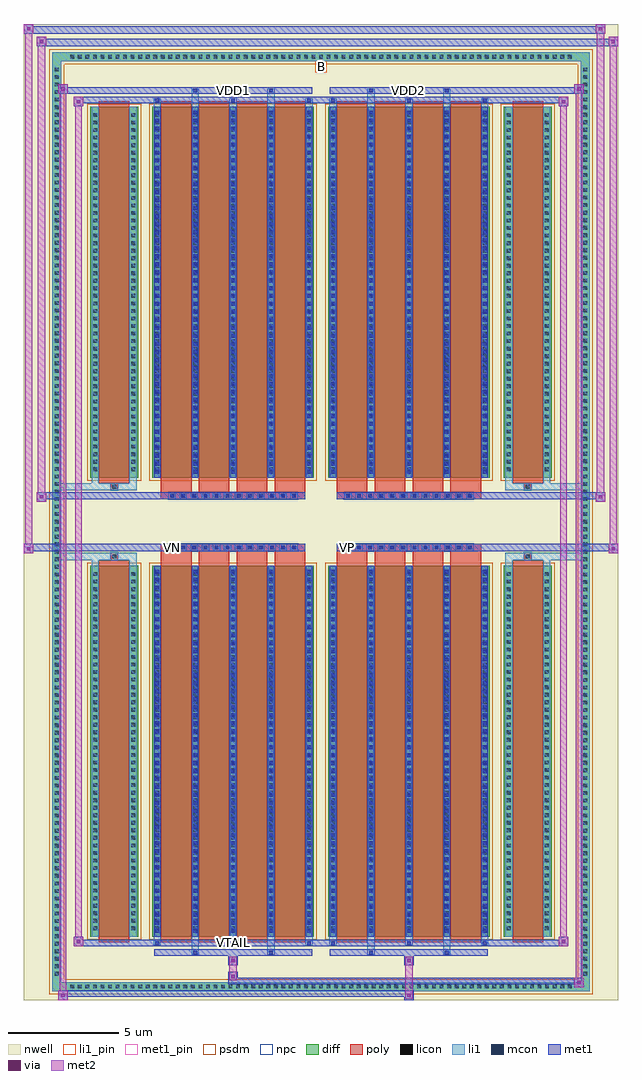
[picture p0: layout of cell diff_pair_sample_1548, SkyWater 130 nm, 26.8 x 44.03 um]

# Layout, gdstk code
import gdstk
lib = gdstk.Library(unit=1e-6, precision=5e-09)
def R(c, l, rs):  # rectangles x0, y0, x1, y1
    for r in rs: c.add(gdstk.rectangle(r[:2], r[2:], *l))
def A(c, l, x, y, w, h, nx, ny, dx, dy):  # array of equal rectangles
    R(c, l, [(x+i*dx, y+j*dy, x+i*dx+w, y+j*dy+h) for i in range(nx) for j in range(ny)])
def P(c, l, *ps):  # polygons
    for p in ps: c.add(gdstk.Polygon(p, *l))
nwell = (64, 20)
diff = (65, 20)
poly = (66, 20)
licon = (66, 44)
li1_pin = (67, 16)
li1 = (67, 20)
mcon = (67, 44)
met1_pin = (68, 16)
met1 = (68, 20)
via = (68, 44)
met2 = (69, 20)
psdm = (94, 20)
npc = (95, 20)

diff_pair_sample_1548 = lib.new_cell('diff_pair_sample_1548')
R(diff_pair_sample_1548, nwell, [(-13.4,-21.58,13.4,22.45), (-10.72,-19.77,-0.01,-0.805), (0.01,-19.77,10.72,-0.805), (-10.72,0.805,-0.01,19.77), (0.01,0.805,10.72,19.77)])
A(diff_pair_sample_1548, diff, -11.425, -21.18, 0.41, 0.41, 67, 2, 0.34, 41.95)
A(diff_pair_sample_1548, diff, -12.13, -20.605, 0.41, 0.41, 1, 121, 0, 0.34)
A(diff_pair_sample_1548, diff, 11.72, -20.605, 0.41, 0.41, 1, 121, 0, 0.34)
R(diff_pair_sample_1548, diff, [(-11.425,-21.18,11.425,-20.77), (-12.13,-20.605,-11.72,20.605), (11.72,-20.605,12.13,20.605), (-10.41,-18.725,-8.25,-1.985), (-7.61,-18.725,-0.32,-1.985), (0.32,-18.725,7.61,-1.985), (8.25,-18.725,10.41,-1.985), (-10.41,1.985,-8.25,18.725), (-7.61,1.985,-0.32,18.725), (0.32,1.985,7.61,18.725), (8.25,1.985,10.41,18.725), (-11.425,20.77,11.425,21.18)])
P(diff_pair_sample_1548, diff, [(12.13,21.18),(-12.13,21.18),(-12.13,-20.77),(-11.72,-20.77),(-11.72,20.77),(11.72,20.77),(11.72,-20.77),(-11.72,-20.77),(-12.13,-20.77),(-12.13,-21.18),(12.13,-21.18)])
A(diff_pair_sample_1548, poly, -7.22, -18.975, 1.38, 17.24, 4, 2, 1.71, 20.71)
A(diff_pair_sample_1548, poly, 0.71, -18.975, 1.38, 17.24, 4, 2, 1.71, 20.71)
A(diff_pair_sample_1548, poly, -7.22, -1.735, 1.38, 0.4, 4, 2, 1.71, 3.07)
A(diff_pair_sample_1548, poly, 0.71, -1.735, 1.38, 0.4, 4, 2, 1.71, 3.07)
A(diff_pair_sample_1548, poly, -6.88, -1.335, 0.33, 0.33, 12, 2, 0.5, 2.34)
A(diff_pair_sample_1548, poly, 1.05, -1.335, 0.33, 0.33, 12, 2, 0.5, 2.34)
R(diff_pair_sample_1548, poly, [(-10.02,-18.975,-8.64,-1.735), (8.64,-18.975,10.02,-1.735), (-9.495,-1.735,-9.165,-1.405), (-9.495,-1.735,-9.165,-1.405), (9.165,-1.735,9.495,-1.405), (9.165,-1.735,9.495,-1.405), (-7.22,-1.335,-0.71,-1.005), (0.71,-1.335,7.22,-1.005), (-7.22,1.005,-0.71,1.335), (0.71,1.005,7.22,1.335), (-9.495,1.405,-9.165,1.735), (-9.495,1.405,-9.165,1.735), (9.165,1.405,9.495,1.735), (9.165,1.405,9.495,1.735), (-10.02,1.735,-8.64,18.975), (8.64,1.735,10.02,18.975)])
A(diff_pair_sample_1548, licon, -11.305, -21.06, 0.17, 0.17, 67, 2, 0.34, 41.95)
A(diff_pair_sample_1548, licon, -12.01, -20.485, 0.17, 0.17, 1, 121, 0, 0.34)
A(diff_pair_sample_1548, licon, 11.84, -20.485, 0.17, 0.17, 1, 121, 0, 0.34)
A(diff_pair_sample_1548, licon, -10.27, -18.43, 0.17, 0.17, 1, 48, 0, 0.34)
A(diff_pair_sample_1548, licon, -8.56, -18.43, 0.17, 0.17, 1, 48, 0, 0.34)
A(diff_pair_sample_1548, licon, -7.47, -18.43, 0.17, 0.17, 5, 48, 1.71, 0.34)
A(diff_pair_sample_1548, licon, 0.46, -18.43, 0.17, 0.17, 5, 48, 1.71, 0.34)
A(diff_pair_sample_1548, licon, 8.39, -18.43, 0.17, 0.17, 1, 48, 0, 0.34)
A(diff_pair_sample_1548, licon, 10.1, -18.43, 0.17, 0.17, 1, 48, 0, 0.34)
A(diff_pair_sample_1548, licon, -6.8, -1.255, 0.17, 0.17, 12, 2, 0.5, 2.34)
A(diff_pair_sample_1548, licon, 1.13, -1.255, 0.17, 0.17, 12, 2, 0.5, 2.34)
A(diff_pair_sample_1548, licon, -10.27, 2.28, 0.17, 0.17, 1, 48, 0, 0.34)
A(diff_pair_sample_1548, licon, -8.56, 2.28, 0.17, 0.17, 1, 48, 0, 0.34)
A(diff_pair_sample_1548, licon, -7.47, 2.28, 0.17, 0.17, 5, 48, 1.71, 0.34)
A(diff_pair_sample_1548, licon, 0.46, 2.28, 0.17, 0.17, 5, 48, 1.71, 0.34)
A(diff_pair_sample_1548, licon, 8.39, 2.28, 0.17, 0.17, 1, 48, 0, 0.34)
A(diff_pair_sample_1548, licon, 10.1, 2.28, 0.17, 0.17, 1, 48, 0, 0.34)
R(diff_pair_sample_1548, licon, [(-9.415,-1.655,-9.245,-1.485), (9.245,-1.655,9.415,-1.485), (-9.415,1.485,-9.245,1.655), (9.245,1.485,9.415,1.655)])
R(diff_pair_sample_1548, li1_pin, [(-0.25,20.27,0.25,20.77)])
A(diff_pair_sample_1548, li1, -11.385, -21.14, 0.33, 0.33, 67, 2, 0.34, 41.95)
A(diff_pair_sample_1548, li1, -12.09, -20.565, 0.33, 0.33, 1, 121, 0, 0.34)
A(diff_pair_sample_1548, li1, 11.76, -20.565, 0.33, 0.33, 1, 121, 0, 0.34)
A(diff_pair_sample_1548, li1, -7.55, -19.1, 0.33, 0.375, 3, 2, 3.42, 37.825)
A(diff_pair_sample_1548, li1, -7.47, -19.1, 0.17, 0.17, 3, 2, 3.42, 38.03)
A(diff_pair_sample_1548, li1, 0.38, -19.1, 0.33, 0.375, 3, 2, 3.42, 37.825)
A(diff_pair_sample_1548, li1, 0.46, -19.1, 0.17, 0.17, 3, 2, 3.42, 38.03)
A(diff_pair_sample_1548, li1, -7.55, -18.725, 0.33, 16.74, 5, 2, 1.71, 20.71)
A(diff_pair_sample_1548, li1, 0.38, -18.725, 0.33, 16.74, 5, 2, 1.71, 20.71)
A(diff_pair_sample_1548, li1, -7.47, -18.54, 0.17, 0.17, 5, 46, 1.71, 0.36)
A(diff_pair_sample_1548, li1, -7.47, -18.54, 0.17, 16.37, 5, 2, 1.71, 20.71)
A(diff_pair_sample_1548, li1, 0.46, -18.54, 0.17, 0.17, 5, 46, 1.71, 0.36)
A(diff_pair_sample_1548, li1, 0.46, -18.54, 0.17, 16.37, 5, 2, 1.71, 20.71)
A(diff_pair_sample_1548, li1, -10.35, -18.51, 0.33, 0.33, 1, 48, 0, 0.34)
A(diff_pair_sample_1548, li1, -8.64, -18.51, 0.33, 0.33, 1, 48, 0, 0.34)
A(diff_pair_sample_1548, li1, -7.55, -18.51, 0.33, 0.33, 5, 48, 1.71, 0.34)
A(diff_pair_sample_1548, li1, 0.38, -18.51, 0.33, 0.33, 5, 48, 1.71, 0.34)
A(diff_pair_sample_1548, li1, 8.31, -18.51, 0.33, 0.33, 1, 48, 0, 0.34)
A(diff_pair_sample_1548, li1, 10.02, -18.51, 0.33, 0.33, 1, 48, 0, 0.34)
A(diff_pair_sample_1548, li1, -6.88, -1.335, 0.33, 0.33, 12, 2, 0.5, 2.34)
A(diff_pair_sample_1548, li1, 1.05, -1.335, 0.33, 0.33, 12, 2, 0.5, 2.34)
A(diff_pair_sample_1548, li1, -7.47, 2.17, 0.17, 0.17, 5, 46, 1.71, 0.36)
A(diff_pair_sample_1548, li1, 0.46, 2.17, 0.17, 0.17, 5, 46, 1.71, 0.36)
A(diff_pair_sample_1548, li1, -10.35, 2.2, 0.33, 0.33, 1, 48, 0, 0.34)
A(diff_pair_sample_1548, li1, -8.64, 2.2, 0.33, 0.33, 1, 48, 0, 0.34)
A(diff_pair_sample_1548, li1, -7.55, 2.2, 0.33, 0.33, 5, 48, 1.71, 0.34)
A(diff_pair_sample_1548, li1, 0.38, 2.2, 0.33, 0.33, 5, 48, 1.71, 0.34)
A(diff_pair_sample_1548, li1, 8.31, 2.2, 0.33, 0.33, 1, 48, 0, 0.34)
A(diff_pair_sample_1548, li1, 10.02, 2.2, 0.33, 0.33, 1, 48, 0, 0.34)
R(diff_pair_sample_1548, li1, [(-12.13,-21.18,-11.72,-20.77), (-12.13,-21.18,-11.72,-20.77), (-11.72,-21.18,11.72,-20.77), (11.72,-21.18,12.13,-20.77), (11.72,-21.18,12.13,-20.77), (-12.13,-20.77,-11.72,20.77), (11.72,-20.77,12.13,20.77), (-5.84,-19.53,-5.51,-18.725), (-5.76,-19.53,-5.59,-19.36), (-2.42,-19.53,-2.09,-18.725), (-2.34,-19.53,-2.17,-19.36), (2.09,-19.53,2.42,-18.725), (2.17,-19.53,2.34,-19.36), (5.51,-19.53,5.84,-18.725), (5.59,-19.53,5.76,-19.36), (-10.35,-18.725,-10.02,-1.985), (-8.64,-18.725,-8.31,-1.985), (8.31,-18.725,8.64,-1.985), (10.02,-18.725,10.35,-1.985), (-10.35,-1.985,-10.02,-1.405), (-8.64,-1.985,-8.31,-1.405), (8.31,-1.985,8.64,-1.405), (10.02,-1.985,10.35,-1.405), (-12.13,-1.735,-9.495,-1.405), (-10.35,-1.735,-9.495,-1.405), (-9.495,-1.735,-9.165,-1.405), (-9.165,-1.735,-8.31,-1.405), (8.31,-1.735,9.165,-1.405), (9.165,-1.735,9.495,-1.405), (9.165,-1.735,12.13,-1.405), (9.495,-1.735,10.35,-1.405), (-12.13,1.405,-9.495,1.735), (-10.35,1.405,-9.495,1.735), (-10.35,1.405,-10.02,1.985), (-9.495,1.405,-9.165,1.735), (-9.165,1.405,-8.31,1.735), (-8.64,1.405,-8.31,1.985), (8.31,1.405,9.165,1.735), (8.31,1.405,8.64,1.985), (9.165,1.405,9.495,1.735), (9.165,1.405,12.13,1.735), (9.495,1.405,10.35,1.735), (10.02,1.405,10.35,1.985), (-10.35,1.985,-10.02,18.725), (-8.64,1.985,-8.31,18.725), (8.31,1.985,8.64,18.725), (10.02,1.985,10.35,18.725), (-5.84,18.725,-5.51,19.53), (-2.42,18.725,-2.09,19.53), (2.09,18.725,2.42,19.53), (5.51,18.725,5.84,19.53), (-5.76,19.36,-5.59,19.53), (-2.34,19.36,-2.17,19.53), (2.17,19.36,2.34,19.53), (5.59,19.36,5.76,19.53), (-12.13,20.77,-11.72,21.18), (-12.13,20.77,-11.72,21.18), (-11.72,20.77,11.72,21.18), (11.72,20.77,12.13,21.18), (11.72,20.77,12.13,21.18)])
A(diff_pair_sample_1548, mcon, -7.47, -19.1, 0.17, 0.17, 3, 2, 3.42, 38.03)
A(diff_pair_sample_1548, mcon, 0.46, -19.1, 0.17, 0.17, 3, 2, 3.42, 38.03)
A(diff_pair_sample_1548, mcon, -7.47, -18.54, 0.17, 0.17, 5, 46, 1.71, 0.36)
A(diff_pair_sample_1548, mcon, 0.46, -18.54, 0.17, 0.17, 5, 46, 1.71, 0.36)
A(diff_pair_sample_1548, mcon, -6.8, -1.255, 0.17, 0.17, 12, 2, 0.5, 2.34)
A(diff_pair_sample_1548, mcon, 1.13, -1.255, 0.17, 0.17, 12, 2, 0.5, 2.34)
A(diff_pair_sample_1548, mcon, -7.47, 2.17, 0.17, 0.17, 5, 46, 1.71, 0.36)
A(diff_pair_sample_1548, mcon, 0.46, 2.17, 0.17, 0.17, 5, 46, 1.71, 0.36)
R(diff_pair_sample_1548, mcon, [(-5.76,-19.53,-5.59,-19.36), (-2.34,-19.53,-2.17,-19.36), (2.17,-19.53,2.34,-19.36), (5.59,-19.53,5.76,-19.36), (-5.76,19.36,-5.59,19.53), (-2.34,19.36,-2.17,19.53), (2.17,19.36,2.34,19.53), (5.59,19.36,5.76,19.53)])
R(diff_pair_sample_1548, met1_pin, [(-4.1,-19.14,-3.83,-18.87), (-6.85,-1.295,-6.58,-1.025), (1.08,-1.295,1.35,-1.025), (-4.1,19.32,-3.83,19.59), (3.83,19.32,4.1,19.59)])
A(diff_pair_sample_1548, met1, -7.53, -19.16, 0.29, 0.29, 3, 2, 3.42, 38.03)
A(diff_pair_sample_1548, met1, 0.4, -19.16, 0.29, 0.29, 3, 2, 3.42, 38.03)
A(diff_pair_sample_1548, met1, -7.53, -18.725, 0.29, 16.74, 5, 2, 1.71, 20.71)
A(diff_pair_sample_1548, met1, 0.4, -18.725, 0.29, 16.74, 5, 2, 1.71, 20.71)
A(diff_pair_sample_1548, met1, -7.53, -18.6, 0.29, 0.29, 5, 46, 1.71, 0.36)
A(diff_pair_sample_1548, met1, 0.4, -18.6, 0.29, 0.29, 5, 46, 1.71, 0.36)
A(diff_pair_sample_1548, met1, -6.86, -1.315, 0.29, 0.29, 12, 2, 0.5, 2.34)
A(diff_pair_sample_1548, met1, 1.07, -1.315, 0.29, 0.29, 12, 2, 0.5, 2.34)
A(diff_pair_sample_1548, met1, -7.53, 2.11, 0.29, 0.29, 5, 46, 1.71, 0.36)
A(diff_pair_sample_1548, met1, 0.4, 2.11, 0.29, 0.29, 5, 46, 1.71, 0.36)
R(diff_pair_sample_1548, met1, [(-11.86,-21.58,-11.43,-21.15), (3.75,-21.58,4.18,-21.15), (-11.86,-21.44,4.18,-21.15), (11.43,-21.01,11.86,-20.58), (-4.18,-20.87,11.86,-20.58), (-4.18,-20.73,-3.75,-20.3), (-4.18,-20.02,-3.75,-19.59), (3.75,-20.02,4.18,-19.59), (-7.53,-19.59,-0.4,-19.3), (-5.82,-19.59,-5.53,-19.3), (-2.4,-19.59,-2.11,-19.3), (0.4,-19.59,7.53,-19.3), (2.11,-19.59,2.4,-19.3), (5.53,-19.59,5.82,-19.3), (-11.15,-19.16,-10.72,-18.73), (-11.15,-19.16,-7.53,-18.87), (-7.53,-19.16,-0.4,-18.87), (-0.4,-19.16,0.4,-18.87), (0.4,-19.16,7.53,-18.87), (7.53,-19.16,11.15,-18.87), (10.72,-19.16,11.15,-18.73), (-13.4,-1.435,-12.97,-1.005), (12.97,-1.435,13.4,-1.005), (-13.4,-1.335,-0.71,-1.005), (-7.22,-1.335,-0.71,-1.005), (0.71,-1.335,7.22,-1.005), (0.71,-1.335,13.4,-1.005), (-12.83,0.905,-12.4,1.335), (12.4,0.905,12.83,1.335), (-12.83,1.005,-7.22,1.335), (-7.22,1.005,-0.71,1.335), (0.71,1.005,7.22,1.335), (7.22,1.005,12.83,1.335), (-11.15,18.73,-10.72,19.16), (10.72,18.73,11.15,19.16), (-11.15,18.87,-7.53,19.16), (-7.53,18.87,-0.4,19.16), (-0.4,18.87,0.4,19.16), (0.4,18.87,7.53,19.16), (7.53,18.87,11.15,19.16), (-11.86,19.3,-11.43,19.73), (-11.86,19.3,-7.53,19.59), (-7.53,19.3,-0.4,19.59), (-5.82,19.3,-5.53,19.59), (-2.4,19.3,-2.11,19.59), (0.4,19.3,7.53,19.59), (2.11,19.3,2.4,19.59), (5.53,19.3,5.82,19.59), (7.53,19.3,11.86,19.59), (11.43,19.3,11.86,19.73), (-12.83,21.45,-12.4,21.88), (-12.83,21.45,-10.72,21.78), (-10.72,21.45,10.72,21.78), (10.72,21.45,13.4,21.78), (12.97,21.45,13.4,21.88), (-13.4,22.02,-12.97,22.45), (-13.4,22.02,-10.72,22.35), (-10.72,22.02,10.72,22.35), (10.72,22.02,12.83,22.35), (12.4,22.02,12.83,22.45)])
R(diff_pair_sample_1548, via, [(-11.72,-21.44,-11.57,-21.29), (3.89,-21.44,4.04,-21.29), (11.57,-20.87,11.72,-20.72), (-4.04,-20.59,-3.89,-20.44), (-4.04,-19.88,-3.89,-19.73), (3.89,-19.88,4.04,-19.73), (-11.01,-19.02,-10.86,-18.87), (10.86,-19.02,11.01,-18.87), (-13.26,-1.295,-13.11,-1.145), (13.11,-1.295,13.26,-1.145), (-12.69,1.045,-12.54,1.195), (12.54,1.045,12.69,1.195), (-11.01,18.87,-10.86,19.02), (10.86,18.87,11.01,19.02), (-11.72,19.44,-11.57,19.59), (11.57,19.44,11.72,19.59), (-12.69,21.59,-12.54,21.74), (13.11,21.59,13.26,21.74), (-13.26,22.16,-13.11,22.31), (12.54,22.16,12.69,22.31)])
R(diff_pair_sample_1548, met2, [(-11.86,-21.58,-11.43,-21.15), (-11.79,-21.58,-11.5,19.73), (-11.5,-21.58,-11.43,-21.15), (-11.81,-21.53,-11.48,-21.2), (3.8,-21.53,4.13,-21.2), (3.8,-21.2,4.13,-19.97), (11.43,-21.01,11.86,-20.58), (11.5,-21.01,11.79,19.73), (11.79,-21.01,11.86,-20.58), (11.48,-20.96,11.81,-20.63), (-4.13,-20.68,-3.8,-20.35), (-4.13,-20.35,-3.8,-19.97), (-4.13,-19.97,-3.8,-19.64), (3.8,-19.97,4.13,-19.64), (-11.15,-19.16,-10.72,-18.73), (-11.08,-19.16,-10.79,19.16), (-10.79,-19.16,-10.72,-18.73), (10.72,-19.16,11.15,-18.73), (10.79,-19.16,11.08,19.16), (11.08,-19.16,11.15,-18.73), (-11.1,-19.11,-10.77,-18.78), (10.77,-19.11,11.1,-18.78), (-13.4,-1.435,-12.97,-1.005), (-13.35,-1.435,-13.02,22.45), (-13.02,-1.435,-12.97,-1.005), (12.97,-1.435,13.4,-1.005), (13.02,-1.435,13.35,21.88), (13.35,-1.435,13.4,-1.005), (-13.35,-1.385,-13.02,-1.055), (13.02,-1.385,13.35,-1.055), (-12.83,0.905,-12.4,1.335), (-12.78,0.905,-12.45,21.88), (-12.45,0.905,-12.4,1.335), (12.4,0.905,12.83,1.335), (12.45,0.905,12.78,22.45), (12.78,0.905,12.83,1.335), (-12.78,0.955,-12.45,1.285), (12.45,0.955,12.78,1.285), (-11.15,18.73,-10.72,19.16), (-10.79,18.73,-10.72,19.16), (10.72,18.73,11.15,19.16), (11.08,18.73,11.15,19.16), (-11.1,18.78,-10.77,19.11), (10.77,18.78,11.1,19.11), (-11.86,19.3,-11.43,19.73), (-11.5,19.3,-11.43,19.73), (11.43,19.3,11.86,19.73), (11.79,19.3,11.86,19.73), (-11.81,19.35,-11.48,19.68), (11.48,19.35,11.81,19.68), (-12.83,21.45,-12.4,21.88), (-12.45,21.45,-12.4,21.88), (12.97,21.45,13.4,21.88), (13.35,21.45,13.4,21.88), (-12.78,21.5,-12.45,21.83), (13.02,21.5,13.35,21.83), (-13.4,22.02,-12.97,22.45), (-13.02,22.02,-12.97,22.45), (12.4,22.02,12.83,22.45), (12.78,22.02,12.83,22.45), (-13.35,22.07,-13.02,22.4), (12.45,22.07,12.78,22.4)])
R(diff_pair_sample_1548, psdm, [(-10.54,-18.855,-8.12,-1.855), (-7.74,-18.855,-0.19,-1.855), (0.19,-18.855,7.74,-1.855), (8.12,-18.855,10.54,-1.855), (-10.54,1.855,-8.12,18.855), (-7.74,1.855,-0.19,18.855), (0.19,1.855,7.74,18.855), (8.12,1.855,10.54,18.855)])
P(diff_pair_sample_1548, psdm, [(12.26,21.31),(-12.26,21.31),(-12.26,-20.64),(-11.59,-20.64),(-11.59,20.64),(11.59,20.64),(11.59,-20.64),(-11.59,-20.64),(-12.26,-20.64),(-12.26,-21.31),(12.26,-21.31)])
A(diff_pair_sample_1548, npc, -6.9, -1.355, 0.37, 0.37, 12, 2, 0.5, 2.34)
A(diff_pair_sample_1548, npc, 1.03, -1.355, 0.37, 0.37, 12, 2, 0.5, 2.34)
R(diff_pair_sample_1548, npc, [(-9.515,-1.755,-9.145,-1.385), (9.145,-1.755,9.515,-1.385), (-6.9,-1.355,-6.03,-0.985), (-6.9,-1.355,-6.03,-0.985), (-6.4,-1.355,-5.53,-0.985), (-6.4,-1.355,-5.53,-0.985), (-5.9,-1.355,-5.03,-0.985), (-5.9,-1.355,-5.03,-0.985), (-5.4,-1.355,-4.53,-0.985), (-5.4,-1.355,-4.53,-0.985), (-4.9,-1.355,-4.03,-0.985), (-4.9,-1.355,-4.03,-0.985), (-4.4,-1.355,-3.53,-0.985), (-4.4,-1.355,-3.53,-0.985), (-3.9,-1.355,-3.03,-0.985), (-3.9,-1.355,-3.03,-0.985), (-3.4,-1.355,-2.53,-0.985), (-3.4,-1.355,-2.53,-0.985), (-2.9,-1.355,-2.03,-0.985), (-2.9,-1.355,-2.03,-0.985), (-2.4,-1.355,-1.53,-0.985), (-2.4,-1.355,-1.53,-0.985), (-1.9,-1.355,-1.03,-0.985), (-1.9,-1.355,-1.03,-0.985), (1.03,-1.355,1.9,-0.985), (1.03,-1.355,1.9,-0.985), (1.53,-1.355,2.4,-0.985), (1.53,-1.355,2.4,-0.985), (2.03,-1.355,2.9,-0.985), (2.03,-1.355,2.9,-0.985), (2.53,-1.355,3.4,-0.985), (2.53,-1.355,3.4,-0.985), (3.03,-1.355,3.9,-0.985), (3.03,-1.355,3.9,-0.985), (3.53,-1.355,4.4,-0.985), (3.53,-1.355,4.4,-0.985), (4.03,-1.355,4.9,-0.985), (4.03,-1.355,4.9,-0.985), (4.53,-1.355,5.4,-0.985), (4.53,-1.355,5.4,-0.985), (5.03,-1.355,5.9,-0.985), (5.03,-1.355,5.9,-0.985), (5.53,-1.355,6.4,-0.985), (5.53,-1.355,6.4,-0.985), (6.03,-1.355,6.9,-0.985), (6.03,-1.355,6.9,-0.985), (-6.9,0.985,-6.03,1.355), (-6.9,0.985,-6.03,1.355), (-6.4,0.985,-5.53,1.355), (-6.4,0.985,-5.53,1.355), (-5.9,0.985,-5.03,1.355), (-5.9,0.985,-5.03,1.355), (-5.4,0.985,-4.53,1.355), (-5.4,0.985,-4.53,1.355), (-4.9,0.985,-4.03,1.355), (-4.9,0.985,-4.03,1.355), (-4.4,0.985,-3.53,1.355), (-4.4,0.985,-3.53,1.355), (-3.9,0.985,-3.03,1.355), (-3.9,0.985,-3.03,1.355), (-3.4,0.985,-2.53,1.355), (-3.4,0.985,-2.53,1.355), (-2.9,0.985,-2.03,1.355), (-2.9,0.985,-2.03,1.355), (-2.4,0.985,-1.53,1.355), (-2.4,0.985,-1.53,1.355), (-1.9,0.985,-1.03,1.355), (-1.9,0.985,-1.03,1.355), (1.03,0.985,1.9,1.355), (1.03,0.985,1.9,1.355), (1.53,0.985,2.4,1.355), (1.53,0.985,2.4,1.355), (2.03,0.985,2.9,1.355), (2.03,0.985,2.9,1.355), (2.53,0.985,3.4,1.355), (2.53,0.985,3.4,1.355), (3.03,0.985,3.9,1.355), (3.03,0.985,3.9,1.355), (3.53,0.985,4.4,1.355), (3.53,0.985,4.4,1.355), (4.03,0.985,4.9,1.355), (4.03,0.985,4.9,1.355), (4.53,0.985,5.4,1.355), (4.53,0.985,5.4,1.355), (5.03,0.985,5.9,1.355), (5.03,0.985,5.9,1.355), (5.53,0.985,6.4,1.355), (5.53,0.985,6.4,1.355), (6.03,0.985,6.9,1.355), (6.03,0.985,6.9,1.355), (-9.515,1.385,-9.145,1.755), (9.145,1.385,9.515,1.755)])
diff_pair_sample_1548.add(gdstk.Label('VTAIL', (-3.965,-19.005), layer=68, texttype=5))
diff_pair_sample_1548.add(gdstk.Label('VN', (-6.715,-1.16), layer=68, texttype=5))
diff_pair_sample_1548.add(gdstk.Label('VP', (1.215,-1.16), layer=68, texttype=5))
diff_pair_sample_1548.add(gdstk.Label('B', (0,20.52), layer=67, texttype=5))
diff_pair_sample_1548.add(gdstk.Label('VDD2', (3.965,19.455), layer=68, texttype=5))
diff_pair_sample_1548.add(gdstk.Label('VDD1', (-3.965,19.455), layer=68, texttype=5))

lib.write_gds('diff_pair_sample_1548.gds')
